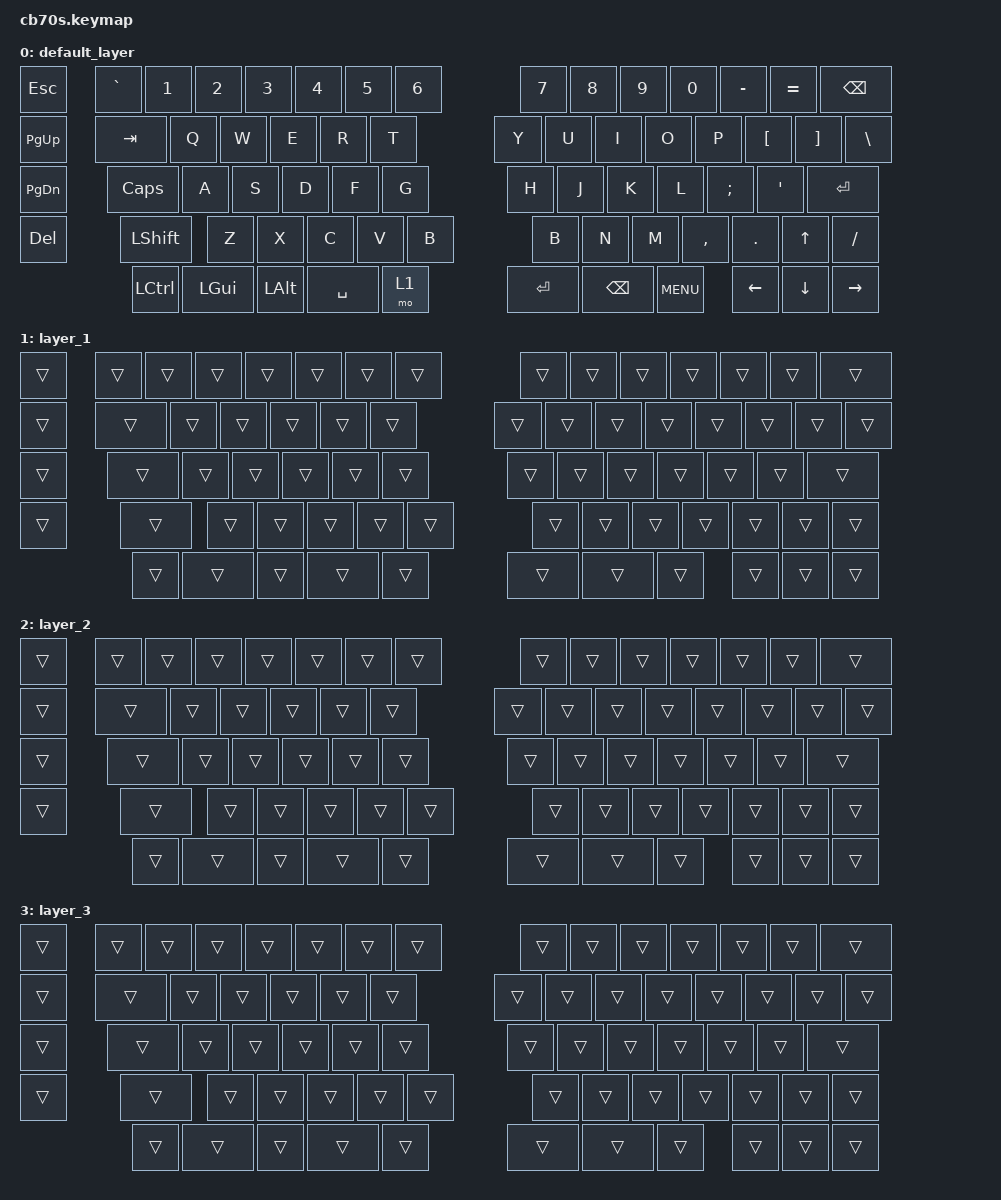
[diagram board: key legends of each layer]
#include <behaviors.dtsi>
#include <dt-bindings/zmk/keys.h>
#include <dt-bindings/zmk/outputs.h>

#define DEFAULT 0

#define CMDR(usage) &ch LG(usage) usage
#define OPTR(usage) &ch LA(usage) usage

/ {
    behaviors {
        ch: cmd_hold {
            compatible = "zmk,behavior-hold-tap";
            label = "CMD_HOLD";
            #binding-cells = <2>;
            tapping-term-ms = <200>;
            quick_tap_ms = <0>;
            flavor = "tap-preferred";
            bindings = <&kp>, <&kp>;
        };

        hm: homerow_mods {
            compatible = "zmk,behavior-hold-tap";
            label = "HOMEROW_MODS";
            #binding-cells = <2>;
            tapping-term-ms = <150>;
            quick-tap-ms = <0>;
            flavor = "tap-preferred";
            bindings = <&kp>, <&kp>;
        };
    };

    keymap {
        compatible = "zmk,keymap";

        default_layer {
            bindings = <
&kp ESC        &kp GRAVE  &kp N1    &kp N2     &kp N3  &kp N4     &kp N5    &kp N6      &kp N7          &kp N8          &kp N9           &kp N0    &kp MINUS     &kp EQUAL  &kp BACKSPACE
&kp PAGE_UP    &kp TAB    &kp Q     &kp W      &kp E   &kp R      &kp T     &kp Y       &kp U           &kp I           &kp O            &kp P     &kp LBKT      &kp RBKT   &kp BSLH
&kp PAGE_DOWN  &kp CAPS   &kp A     &kp S      &kp D   &kp F      &kp G     &kp H       &kp J           &kp K           &kp L            &kp SEMI  &kp APOS      &kp ENTER
&kp DELETE     &kp LSHFT  &kp Z     &kp X      &kp C   &kp V      &kp B     &kp B       &kp N           &kp M           &kp COMMA        &kp DOT   &kp UP_ARROW  &kp FSLH
&kp LCTRL      &kp LGUI   &kp LALT  &kp SPACE  &mo 1   &kp ENTER  &kp BSPC  &kp K_MENU  &kp LEFT_ARROW  &kp DOWN_ARROW  &kp RIGHT_ARROW
            >;
        };

        layer_1 {
            bindings = <
&trans  &trans  &trans  &trans  &trans  &trans  &trans  &trans  &trans  &trans  &trans  &trans  &trans  &trans  &trans
&trans  &trans  &trans  &trans  &trans  &trans  &trans  &trans  &trans  &trans  &trans  &trans  &trans  &trans  &trans
&trans  &trans  &trans  &trans  &trans  &trans  &trans  &trans  &trans  &trans  &trans  &trans  &trans  &trans
&trans  &trans  &trans  &trans  &trans  &trans  &trans  &trans  &trans  &trans  &trans  &trans  &trans  &trans
&trans  &trans  &trans  &trans  &trans  &trans  &trans  &trans  &trans  &trans  &trans
            >;
        };
        layer_2 {
            bindings = <
&trans  &trans  &trans  &trans  &trans  &trans  &trans  &trans  &trans  &trans  &trans  &trans  &trans  &trans  &trans
&trans  &trans  &trans  &trans  &trans  &trans  &trans  &trans  &trans  &trans  &trans  &trans  &trans  &trans  &trans
&trans  &trans  &trans  &trans  &trans  &trans  &trans  &trans  &trans  &trans  &trans  &trans  &trans  &trans
&trans  &trans  &trans  &trans  &trans  &trans  &trans  &trans  &trans  &trans  &trans  &trans  &trans  &trans
&trans  &trans  &trans  &trans  &trans  &trans  &trans  &trans  &trans  &trans  &trans
            >;
        };
        layer_3 {
            bindings = <
&trans  &trans  &trans  &trans  &trans  &trans  &trans  &trans  &trans  &trans  &trans  &trans  &trans  &trans  &trans
&trans  &trans  &trans  &trans  &trans  &trans  &trans  &trans  &trans  &trans  &trans  &trans  &trans  &trans  &trans
&trans  &trans  &trans  &trans  &trans  &trans  &trans  &trans  &trans  &trans  &trans  &trans  &trans  &trans
&trans  &trans  &trans  &trans  &trans  &trans  &trans  &trans  &trans  &trans  &trans  &trans  &trans  &trans
&trans  &trans  &trans  &trans  &trans  &trans  &trans  &trans  &trans  &trans  &trans
            >;
        };        
    };
};
